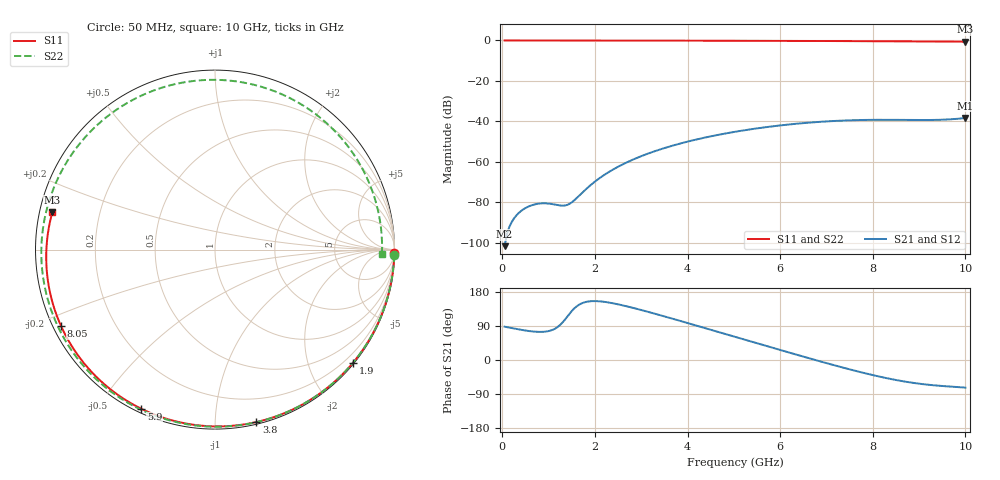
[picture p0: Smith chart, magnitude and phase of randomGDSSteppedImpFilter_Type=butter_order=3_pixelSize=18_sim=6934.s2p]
! freq	dB(S11)	phase(S11)	dB(S12)	phase(S12)
!  dB(S21)	phase(S21)	dB(S22)	phase(S22)
!S-par simulation data
#  GHz  S  DB  R 50
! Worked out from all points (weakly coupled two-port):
!   200 points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, 50 MHz to 10 GHz, reference 50 ohm
!   highest |S21| = -38.35 dB at 10 GHz (marker M1); lowest = -101.7 dB at 50 MHz (marker M2)
!   lowest |S11| = -0.6 dB at 10 GHz (marker M3), VSWR 27.47, Z = 1.84 + j5.64 ohm
!   |S11| at or under -10 dB: nowhere
!   |S22| runs from -0.6 to 0.0 dB; largest |S21 - S12| = 0
!   S11 on the Smith chart (normalised r, x): 50 MHz: open; 1.9 GHz: 0.03, -2.79; 3.8 GHz: 0.02, -1.27; 5.9 GHz: 0.02, -0.64; 8.05 GHz: 0.02, -0.23; 10 GHz: 0.04, +0.11
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0.05  -0.00 -1.1  -101.68 87.9  -101.68 87.9  -0.00 -1.7
0.75  -0.02 -15.8  -80.80 74.4  -80.80 74.4  -0.03 -25.4
1.5  -0.04 -31.3  -80.03 129.1  -80.03 129.1  -0.06 -50.2
1.75  -0.05 -36.4  -74.75 151.2  -74.75 151.2  -0.07 -58.3
1.9  -0.05 -39.4  -71.64 155.0  -71.64 155.0  -0.08 -63.2
2.2  -0.06 -45.5  -66.48 153.5  -66.48 153.5  -0.09 -72.7
2.55  -0.07 -52.4  -61.83 145.6  -61.83 145.6  -0.11 -83.7
3.4  -0.09 -69.0  -53.92 118.6  -53.92 118.6  -0.14 -110.0
3.8  -0.10 -76.6  -51.21 104.7  -51.21 104.7  -0.16 -122.2
4.45  -0.13 -88.7  -47.64 81.6  -47.64 81.6  -0.20 -142.0
5.05  -0.15 -99.6  -45.05 60.2  -45.05 60.2  -0.24 -160.8
5.5  -0.18 -107.7  -43.46 44.2  -43.46 44.2  -0.27 -175.3
5.9  -0.20 -114.9  -42.27 30.0  -42.27 30.0  -0.31 171.4
6.3  -0.23 -122.0  -41.28 15.9  -41.28 15.9  -0.34 157.4
6.7  -0.25 -129.1  -40.48 2.0  -40.48 2.0  -0.38 142.7
7.45  -0.32 -142.5  -39.52 -23.1  -39.52 -23.1  -0.44 113.1
8.05  -0.38 -153.6  -39.23 -41.2  -39.23 -41.2  -0.49 87.3
8.35  -0.41 -159.2  -39.23 -49.2  -39.23 -49.2  -0.51 73.9
8.8  -0.46 -167.9  -39.31 -59.1  -39.31 -59.1  -0.53 53.2
9.25  -0.52 -176.9  -39.32 -66.0  -39.32 -66.0  -0.56 32.4
9.65  -0.58 174.8  -39.01 -69.9  -39.01 -69.9  -0.59 14.0
10  -0.63 167.1  -38.35 -72.9  -38.35 -72.9  -0.63 -1.6
